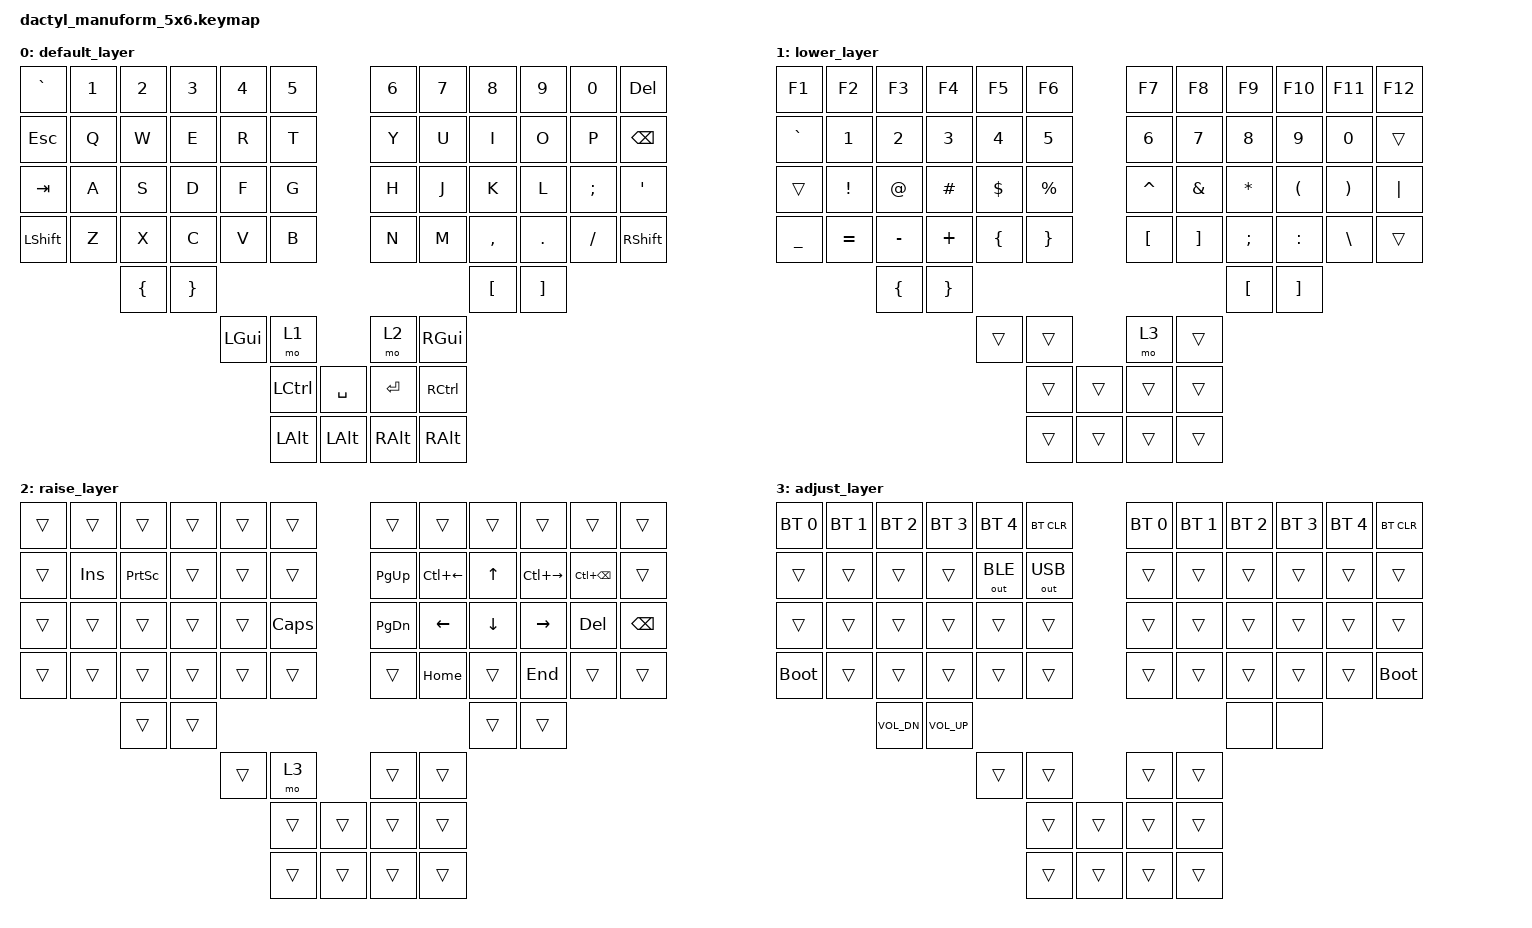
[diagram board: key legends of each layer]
#include <behaviors.dtsi>
#include <dt-bindings/zmk/bt.h>
#include <dt-bindings/zmk/keys.h>
#include <dt-bindings/zmk/outputs.h>

#define DEFAULT 0
#define LWR 1
#define RSE 2
#define ADJ 3

/ {
    keymap {
        compatible = "zmk,keymap";

        default_layer {
            bindings = <
&kp GRAVE       &kp N1  &kp N2          &kp N3           &kp N4        &kp N5                                  &kp N6             &kp N7         &kp N8            &kp N9             &kp N0    &kp DELETE
&kp ESCAPE      &kp Q   &kp W           &kp E            &kp R         &kp T                                   &kp Y              &kp U          &kp I             &kp O              &kp P     &kp BACKSPACE
&kp TAB         &kp A   &kp S           &kp D            &kp F         &kp G                                   &kp H              &kp J          &kp K             &kp L              &kp SEMI  &kp SQT
&kp LEFT_SHIFT  &kp Z   &kp X           &kp C            &kp V         &kp B                                   &kp N              &kp M          &kp COMMA         &kp DOT            &kp FSLH  &kp RIGHT_SHIFT
                        &kp LEFT_BRACE  &kp RIGHT_BRACE                                                                                          &kp LEFT_BRACKET  &kp RIGHT_BRACKET
                                                         &kp LEFT_GUI  &mo 1                                   &mo 2              &kp RIGHT_GUI
                                                                       &kp LEFT_CONTROL  &kp SPACE  &kp ENTER  &kp RIGHT_CONTROL
                                                                       &kp LEFT_ALT      &kp LALT   &kp RALT   &kp RIGHT_ALT
            >;
        };

        lower_layer {
            bindings = <
&kp F1     &kp F2     &kp F3          &kp F4           &kp F5    &kp F6                     &kp F7     &kp F8    &kp F9            &kp F10            &kp F11   &kp F12
&kp GRAVE  &kp N1     &kp N2          &kp N3           &kp N4    &kp N5                     &kp N6     &kp N7    &kp N8            &kp N9             &kp N0    &trans
&trans     &kp EXCL   &kp AT          &kp HASH         &kp DLLR  &kp PRCNT                  &kp CARET  &kp AMPS  &kp STAR          &kp LPAR           &kp RPAR  &kp PIPE
&kp UNDER  &kp EQUAL  &kp MINUS       &kp PLUS         &kp LBRC  &kp RBRC                   &kp LBKT   &kp RBKT  &kp SEMI          &kp COLON          &kp BSLH  &trans
                      &kp LEFT_BRACE  &kp RIGHT_BRACE                                                            &kp LEFT_BRACKET  &kp RIGHT_BRACKET
                                                       &trans    &trans                     &mo 3      &trans
                                                                 &trans     &trans  &trans  &trans
                                                                 &trans     &trans  &trans  &trans
            >;
        };

        raise_layer {
            bindings = <
&trans  &trans   &trans           &trans  &trans  &trans                    &trans         &trans              &trans        &trans         &trans             &trans
&trans  &kp INS  &kp PRINTSCREEN  &trans  &trans  &trans                    &kp PG_UP      &kp LC(LEFT_ARROW)  &kp UP_ARROW  &kp LC(RIGHT)  &kp LC(BACKSPACE)  &trans
&trans  &trans   &trans           &trans  &trans  &kp CAPS                  &kp PAGE_DOWN  &kp LEFT            &kp DOWN      &kp RIGHT      &kp DEL            &kp BACKSPACE
&trans  &trans   &trans           &trans  &trans  &trans                    &trans         &kp HOME            &trans        &kp END        &trans             &trans
                 &trans           &trans                                                                       &trans        &trans
                                          &trans  &mo 3                     &trans         &trans
                                                  &trans    &trans  &trans  &trans
                                                  &trans    &trans  &trans  &trans
            >;
        };

        adjust_layer {
            bindings = <
&bt BT_SEL 0  &bt BT_SEL 1  &bt BT_SEL 2  &bt BT_SEL 3     &bt BT_SEL 4  &bt BT_CLR                    &bt BT_SEL 0  &bt BT_SEL 1  &bt BT_SEL 2  &bt BT_SEL 3  &bt BT_SEL 4  &bt BT_CLR
&trans        &trans        &trans        &trans           &out OUT_BLE  &out OUT_USB                  &trans        &trans        &trans        &trans        &trans        &trans
&trans        &trans        &trans        &trans           &trans        &trans                        &trans        &trans        &trans        &trans        &trans        &trans
&bootloader   &trans        &trans        &trans           &trans        &trans                        &trans        &trans        &trans        &trans        &trans        &bootloader
                            &kp C_VOL_DN  &kp C_VOLUME_UP                                                                          &none         &none
                                                           &trans        &trans                        &trans        &trans
                                                                         &trans        &trans  &trans  &trans
                                                                         &trans        &trans  &trans  &trans
            >;
        };
    };
};
